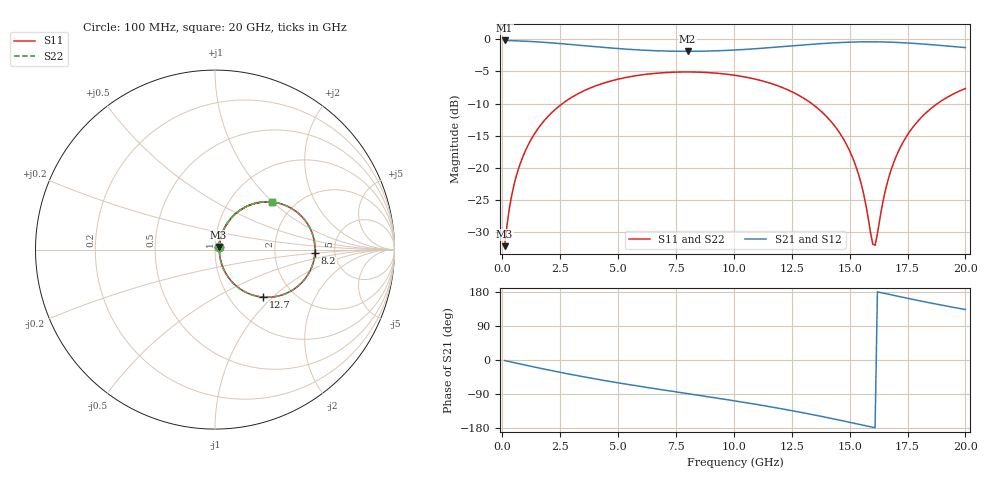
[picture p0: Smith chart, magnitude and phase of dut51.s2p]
! Touchstone file exported from HFSS 2026.1.0
!  File:  C:/ffzhzh/LocalFiles/Ansys_Project_Files/temp_train_TSV_RDL_51_1782967045_45748.aedt
!  Generated:  12:48:56 PM Jul  2, 2026
!  Design:  TSV_RDL
!  Project:  temp_train_TSV_RDL_51_1782967045_45748
! Variables:
!  h_bsmrdl = 3.23um
!  h_ox = 20um
!  h_rdl = 5um
!  h_sub = 74.76um
!  h_tmrdl = 3.05um
!  h_tsv = 74.76um
!  h_via = 3um
!  l_bsmrdl = 552.9um
!  l_sub = 3751.63um
!  l_tmrdl = 393.39um
!  m_sub = 200um
!  pitch = 48.45um
!  r_tsv = 7.98um
!  s_tmrdl = 10um
!  w_bsmrdl = 18.41um
!  w_sub = 500um
!  w_tmrdl = 21.38um
!  x_tsv_center1 = 404.08um
!  x_tsv_center2 = 975.39um
!  x_tsv_center3 = 1390.16um
!  x_tsv_center4 = 1961.47um
!  x_tsv_center5 = 2376.24um
!  x_tsv_center6 = 2947.55um
# GHz S MA R 50.000000
! Terminal data exported
! Port[1] = TM_RDL1_1_T1
! Port[2] = TM_RDL5_1_T1
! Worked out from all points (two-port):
!   200 points, 100 MHz to 20 GHz, reference 50 ohm
!   highest |S21| = -0.17 dB at 100 MHz (marker M1); lowest = -1.9 dB at 8 GHz (marker M2)
!   |S21| within 3 dB of the highest: start of sweep to end of sweep
!   lowest |S11| = -32.2 dB at 100 MHz (marker M3), VSWR 1.05, Z = 52 + j1.46 ohm
!   |S11| at or under -10 dB: start of sweep to 2.597 GHz; 13.36 GHz to 18.79 GHz (5.429 GHz wide, 33.8 % of centre)
!   |S22| runs from -32.2 to -5.1 dB; largest |S21 - S12| = 1.6e-14
!   S11 on the Smith chart (normalised r, x): 100 MHz: 1.04, +0.03; 8.2 GHz: 3.50, -0.20; 12.7 GHz: 1.41, -0.87; 20 GHz: 1.55, +0.99
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0.1  0.02459 34.9  0.9801 -1.4  0.9801 -1.4  0.02459 34.9
! Gamma 0 0 0 0
! Port Impedance 50 0 50 0
0.3  0.04764 59.5  0.978 -4.2  0.978 -4.2  0.04764 59.5
0.5  0.07305 65.3  0.9751 -6.9  0.9751 -6.9  0.07305 65.2
1.1  0.1484 65.8  0.9648 -14.8  0.9648 -14.8  0.1484 65.8
2.1  0.265 57.0  0.9395 -27.6  0.9395 -27.6  0.265 57.0
3.5  0.3958 42.3  0.8936 -44.2  0.8936 -44.2  0.3958 42.3
6.8  0.5474 10.4  0.8132 -77.6  0.8132 -77.6  0.5474 10.4
8  0.5574 -0.3  0.8066 -88.7  0.8066 -88.7  0.5574 -0.3
8.2  0.557 -2.0  0.8068 -90.6  0.8068 -90.6  0.557 -2.1
10.1  0.5232 -19.2  0.827 -108.5  0.827 -108.5  0.5232 -19.2
12.7  0.3755 -44.8  0.8953 -135.9  0.8953 -135.9  0.3755 -44.9
13.4  0.3127 -52.1  0.9159 -144.2  0.9159 -144.2  0.3127 -52.2
14.4  0.2066 -61.9  0.9407 -156.6  0.9407 -156.6  0.2066 -62.0
15.1  0.1237 -66.2  0.952 -165.7  0.952 -165.7  0.1237 -66.3
15.6  0.06329 -61.3  0.9559 -172.2  0.9559 -172.2  0.0632 -61.6
16  0.02546 -15.7  0.9564 -177.5  0.9564 -177.5  0.02513 -16.0
16.1  0.02503 12.4  0.9561 -178.9  0.9561 -178.9  0.02467 12.5
16.4  0.05023 56.6  0.9543 177.2  0.9543 177.2  0.05002 57.0
16.7  0.08539 65.3  0.9511 173.2  0.9511 173.2  0.08525 65.5
17.2  0.1455 65.9  0.9431 166.7  0.9431 166.7  0.1454 66.0
17.9  0.2257 60.6  0.9269 157.8  0.9269 157.8  0.2256 60.7
20  0.4143 39.6  0.8624 133.2  0.8624 133.2  0.4143 39.6
